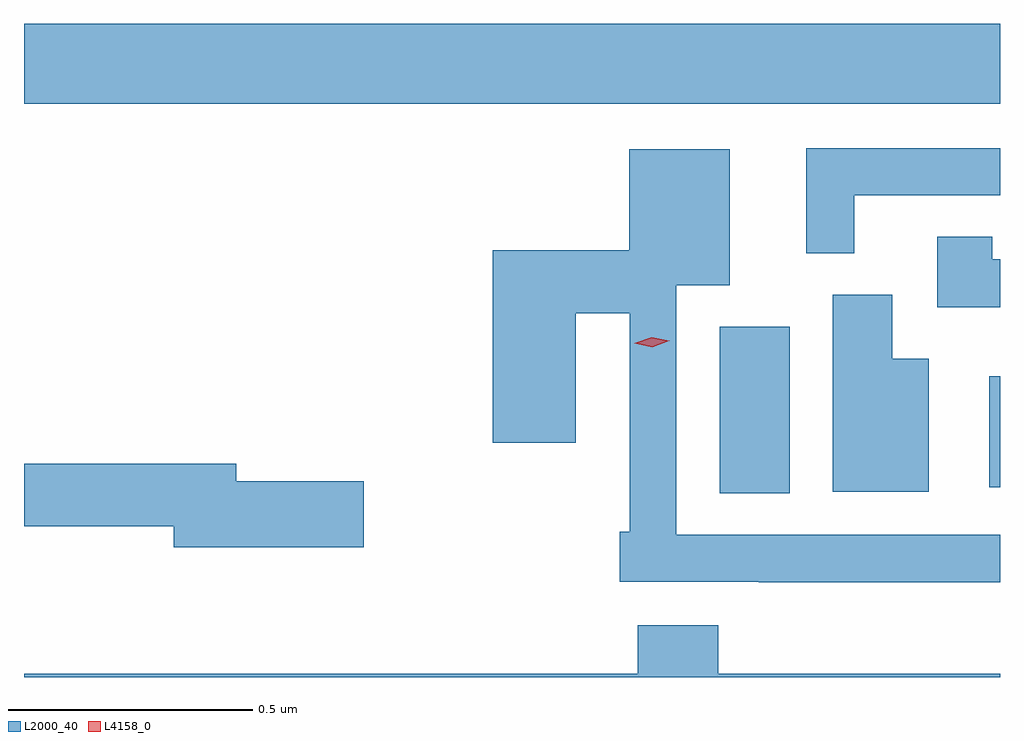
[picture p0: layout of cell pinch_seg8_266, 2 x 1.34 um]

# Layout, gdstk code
import gdstk
lib = gdstk.Library(unit=1e-6, precision=1e-09)
def R(c, l, rs):  # rectangles x0, y0, x1, y1
    for r in rs: c.add(gdstk.rectangle(r[:2], r[2:], *l))
def P(c, l, *ps):  # polygons
    for p in ps: c.add(gdstk.Polygon(p, *l))
L2000_40 = (2000, 40)
L4158_0 = (4158, 0)

pinch_seg8_266 = lib.new_cell('pinch_seg8_266')
R(pinch_seg8_266, L2000_40, [(581.825,1158.325,581.968,1158.667), (582.377,1158.338,582.399,1158.565), (580.399,1159.124,582.399,1159.288)])
P(pinch_seg8_266, L2000_40, [(582.1,1158.936),(582.399,1158.936),(582.399,1159.032),(582.002,1159.032),(582.002,1158.817),(582.1,1158.817)],
  [(582.399,1158.24),(581.736,1158.24),(581.736,1158.752),(581.845,1158.752),(581.845,1159.03),(581.639,1159.03),(581.639,1158.823),(581.36,1158.823),(581.36,1158.429),(581.53,1158.429),(581.53,1158.694),(581.64,1158.694),(581.64,1158.247),(581.62,1158.247),(581.62,1158.144),(581.905,1158.144),(581.905,1158.143),(582.399,1158.143)],
  [(582.399,1158.805),(582.383,1158.805),(582.383,1158.851),(582.27,1158.851),(582.27,1158.707),(582.399,1158.707)],
  [(582.253,1158.601),(582.178,1158.601),(582.178,1158.732),(582.056,1158.732),(582.056,1158.329),(582.253,1158.329)],
  [(581.095,1158.35),(580.834,1158.35),(580.834,1158.386),(580.399,1158.386),(580.399,1158.258),(580.706,1158.258),(580.706,1158.215),(581.095,1158.215)],
  [(582.399,1157.956),(581.822,1157.956),(581.822,1158.055),(581.657,1158.055),(581.657,1157.956),(580.399,1157.956),(580.399,1157.948),(582.399,1157.948)])
P(pinch_seg8_266, L4158_0, [(581.686,1158.625),(581.65,1158.633),(581.65,1158.633),(581.65,1158.633),(581.685,1158.645),(581.721,1158.638),(581.722,1158.638),(581.721,1158.638)])

lib.write_gds('pinch_seg8_266.gds')
